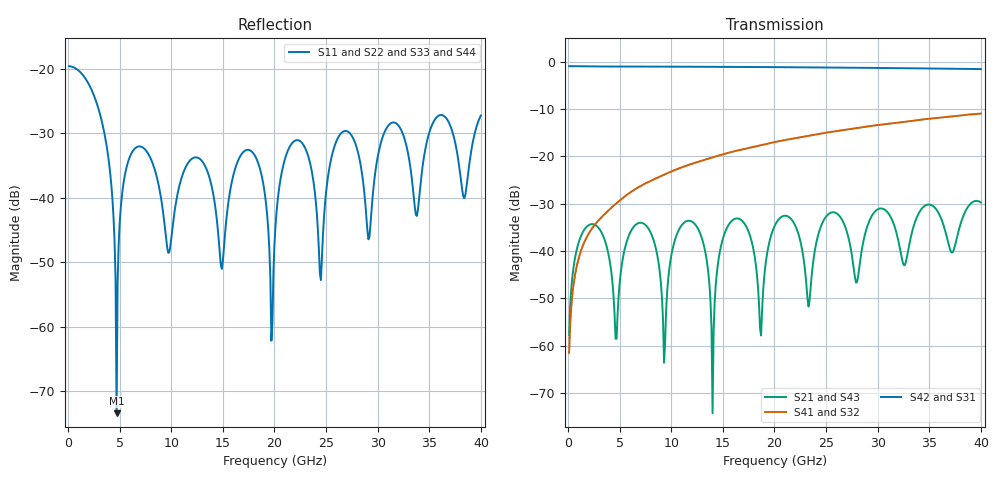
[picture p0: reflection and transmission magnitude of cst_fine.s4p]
! T_ts6_xt_ms_s20: Microstrip aggressor and victim on L1, w 0.265 mm, edge gap 2·w = 0.53 mm, 20 mm
! stackup: ThunderScope Rev5.3 6-layer (FR408HR / FR-4, from the board file)
! ports: 1 near A, 2 near B, 3 far A, 4 far B
! CST Studio Suite 2025.5 Release from 2025-05-30, time domain (FIT, hexahedral, PBA), 417384 mesh cells, 99 s
! mesh: {'lpw': 30.0, 'lpb': 30.0, 'minstep': 0.0, 'ratio': 20}; ports: port 1 (face); port 2 (face); port 3 (face); port 4 (face)
! interpolated from CST's 1001 samples to the case grid
# Hz S RI R 50
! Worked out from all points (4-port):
!   400 points, 100 MHz to 40 GHz, reference 50 ohm
!   strongest paths, dB at 100 MHz, 10.1 GHz, 20.1 GHz, 30.1 GHz, 40 GHz:
!     S42: -1.0, -1.1, -1.2, -1.3, -1.6
!     S31: -1.0, -1.1, -1.2, -1.3, -1.6
!     S41: -61.5, -23.1, -17.0, -13.4, -11.0
!     S32: -61.5, -23.1, -17.0, -13.4, -11.0
!     S21: -57.7, -39.9, -34.3, -31.1, -29.8
!     S43: -57.7, -39.9, -34.3, -31.1, -29.8
!   lowest |S11| = -73.4 dB at 4.7 GHz (marker M1), VSWR 1.00, Z = 50 + j0.02 ohm
!   |S11| at or under -10 dB: start of sweep to end of sweep
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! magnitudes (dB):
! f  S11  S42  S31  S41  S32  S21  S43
! 100 MHz  -19.6  -1.0  -1.0  -61.5  -61.5  -57.7  -57.7
! 4.7 GHz  -73.4  -1.0  -1.0  -29.9  -29.9  -58.5  -58.5
! 6.5 GHz  -32.3  -1.0  -1.0  -26.9  -26.9  -34.6  -34.6
! 12.8 GHz  -34.0  -1.1  -1.1  -21.0  -21.0  -36.3  -36.3
! 14 GHz  -38.9  -1.1  -1.1  -20.2  -20.2  -74.3  -74.3
! 15.9 GHz  -37.3  -1.1  -1.1  -19.1  -19.1  -33.6  -33.6
! 40 GHz  -27.3  -1.6  -1.6  -11.0  -11.0  -29.8  -29.8
